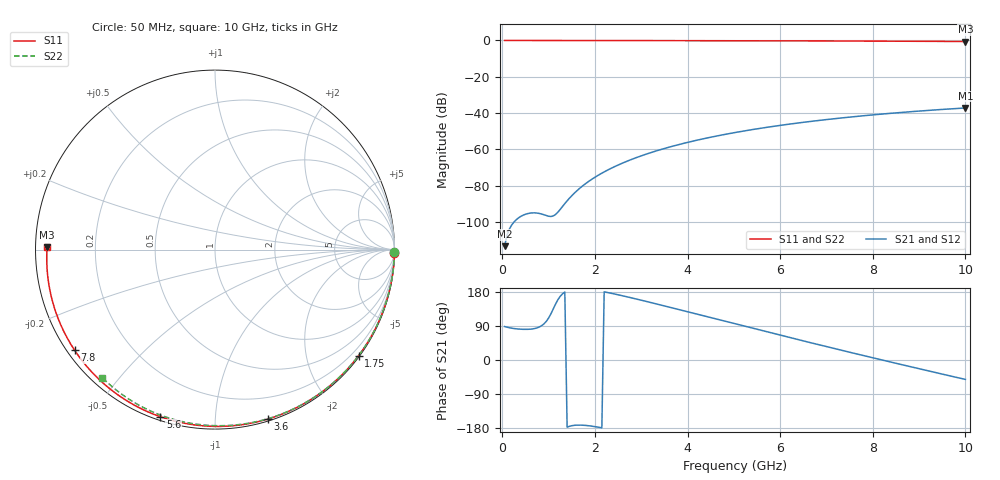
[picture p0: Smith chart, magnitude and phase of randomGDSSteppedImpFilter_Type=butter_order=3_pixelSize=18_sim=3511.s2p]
! freq	dB(S11)	phase(S11)	dB(S12)	phase(S12)
!  dB(S21)	phase(S21)	dB(S22)	phase(S22)
!S-par simulation data
#  GHz  S  DB  R 50
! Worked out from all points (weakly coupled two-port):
!   200 points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, 50 MHz to 10 GHz, reference 50 ohm
!   highest |S21| = -37.17 dB at 10 GHz (marker M1); lowest = -113.3 dB at 50 MHz (marker M2)
!   lowest |S11| = -0.6 dB at 10 GHz (marker M3), VSWR 30.03, Z = 1.66 + j0.408 ohm
!   |S11| at or under -10 dB: nowhere
!   |S22| runs from -0.4 to 0.0 dB; largest |S21 - S12| = 0
!   S11 on the Smith chart (normalised r, x): 50 MHz: open; 1.75 GHz: 0.03, -3.03; 3.6 GHz: 0.02, -1.36; 5.6 GHz: 0.02, -0.73; 7.8 GHz: 0.02, -0.32; 10 GHz: 0.03, +0.01
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0.05  -0.00 -1.1  -113.26 88.2  -113.26 88.2  -0.00 -0.8
0.45  -0.01 -9.6  -96.20 81.0  -96.20 81.0  -0.01 -6.8
0.85  -0.02 -18.0  -95.56 90.6  -95.56 90.6  -0.02 -12.8
1.25  -0.03 -26.3  -93.05 167.9  -93.05 167.9  -0.02 -18.8
1.7  -0.05 -35.5  -80.79 -171.8  -80.79 -171.8  -0.03 -25.5
1.75  -0.05 -36.5  -79.77 -172.1  -79.77 -172.1  -0.03 -26.2
2.05  -0.05 -42.6  -74.54 -176.8  -74.54 -176.8  -0.04 -30.6
2.25  -0.06 -46.6  -71.68 178.7  -71.68 178.7  -0.04 -33.5
2.45  -0.06 -50.5  -69.18 173.5  -69.18 173.5  -0.05 -36.4
2.9  -0.08 -59.3  -64.45 160.8  -64.45 160.8  -0.06 -42.8
3.4  -0.09 -68.8  -60.23 145.8  -60.23 145.8  -0.07 -49.9
3.6  -0.10 -72.6  -58.76 139.7  -58.76 139.7  -0.07 -52.6
4.3  -0.12 -85.4  -54.36 118.0  -54.36 118.0  -0.09 -62.2
5.05  -0.15 -98.7  -50.58 94.8  -50.58 94.8  -0.11 -72.2
5.6  -0.18 -108.1  -48.26 77.8  -48.26 77.8  -0.13 -79.3
6.15  -0.21 -117.3  -46.23 61.0  -46.23 61.0  -0.15 -86.2
6.7  -0.24 -126.4  -44.44 44.4  -44.44 44.4  -0.18 -93.0
7.25  -0.29 -135.4  -42.86 27.9  -42.86 27.9  -0.21 -99.6
7.8  -0.33 -144.3  -41.45 11.7  -41.45 11.7  -0.25 -106.2
8.35  -0.38 -153.3  -40.19 -4.3  -40.19 -4.3  -0.29 -112.6
9.2  -0.48 -167.3  -38.50 -28.7  -38.50 -28.7  -0.36 -122.3
10  -0.58 179.1  -37.17 -51.2  -37.17 -51.2  -0.44 -131.3
